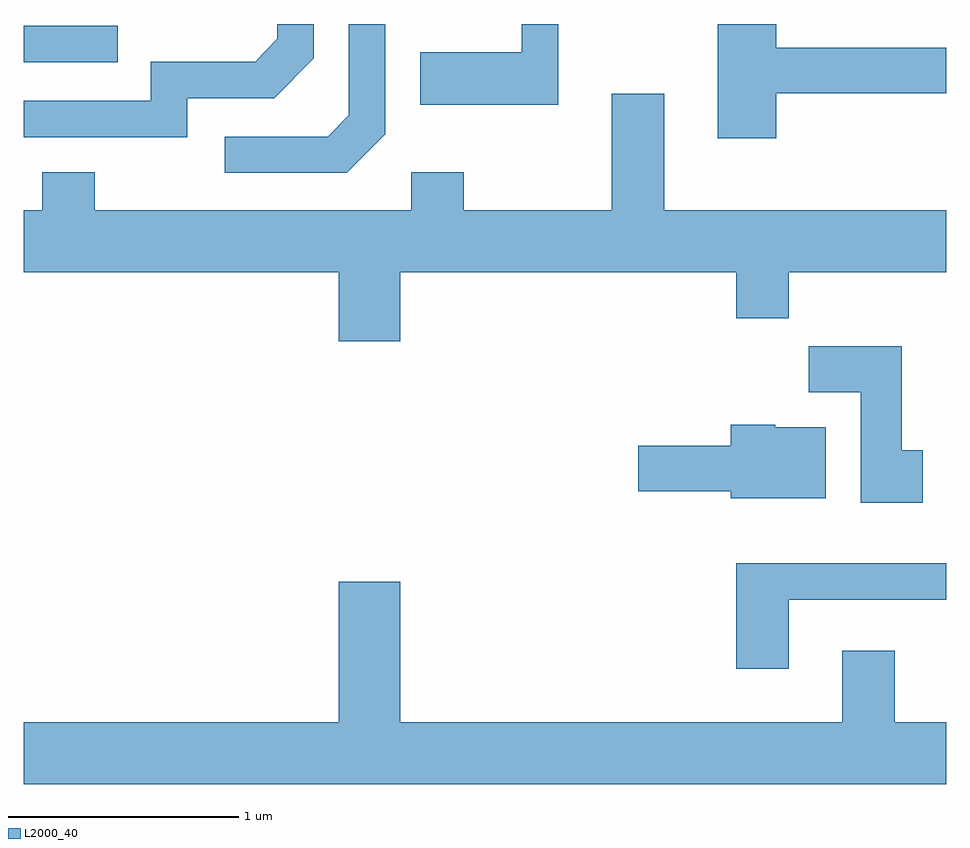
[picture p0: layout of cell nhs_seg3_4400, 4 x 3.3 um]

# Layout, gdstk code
import gdstk
lib = gdstk.Library(unit=1e-6, precision=1e-09)
def R(c, l, rs):  # rectangles x0, y0, x1, y1
    for r in rs: c.add(gdstk.rectangle(r[:2], r[2:], *l))
def P(c, l, *ps):  # polygons
    for p in ps: c.add(gdstk.Polygon(p, *l))
L2000_40 = (2000, 40)

nhs_seg3_4400 = lib.new_cell('nhs_seg3_4400')
R(nhs_seg3_4400, L2000_40, [(313.611,1215.726,314.018,1215.884)])
P(nhs_seg3_4400, L2000_40, [(316.874,1215.591),(317.611,1215.591),(317.611,1215.789),(316.874,1215.789),(316.874,1215.892),(316.621,1215.892),(316.621,1215.396),(316.874,1215.396)],
  [(315.929,1215.892),(315.771,1215.892),(315.771,1215.769),(315.331,1215.769),(315.331,1215.541),(315.929,1215.541)],
  [(315.179,1215.414),(315.179,1215.892),(315.021,1215.892),(315.021,1215.497),(314.929,1215.404),(314.483,1215.404),(314.483,1215.246),(315.012,1215.246)],
  [(314.319,1215.571),(314.697,1215.571),(314.869,1215.744),(314.869,1215.892),(314.711,1215.892),(314.711,1215.827),(314.614,1215.729),(314.161,1215.729),(314.161,1215.559),(313.611,1215.559),(313.611,1215.401),(314.319,1215.401)],
  [(315.244,1214.816),(316.701,1214.816),(316.701,1214.616),(316.929,1214.616),(316.929,1214.816),(317.611,1214.816),(317.611,1215.084),(316.389,1215.084),(316.389,1215.589),(316.161,1215.589),(316.161,1215.084),(315.519,1215.084),(315.519,1215.249),(315.291,1215.249),(315.291,1215.084),(313.919,1215.084),(313.919,1215.249),(313.691,1215.249),(313.691,1215.084),(313.611,1215.084),(313.611,1214.816),(314.976,1214.816),(314.976,1214.516),(315.244,1214.516)],
  [(317.509,1214.044),(317.419,1214.044),(317.419,1214.494),(317.016,1214.494),(317.016,1214.296),(317.241,1214.296),(317.241,1213.816),(317.509,1213.816)],
  [(317.089,1214.144),(316.87,1214.144),(316.87,1214.154),(316.676,1214.154),(316.676,1214.064),(316.276,1214.064),(316.276,1213.866),(316.676,1213.866),(316.676,1213.836),(317.089,1213.836)],
  [(316.929,1213.396),(317.611,1213.396),(317.611,1213.554),(316.701,1213.554),(316.701,1213.096),(316.929,1213.096)],
  [(317.611,1212.864),(317.389,1212.864),(317.389,1213.174),(317.161,1213.174),(317.161,1212.864),(315.244,1212.864),(315.244,1213.474),(314.976,1213.474),(314.976,1212.864),(313.611,1212.864),(313.611,1212.596),(317.611,1212.596)])

lib.write_gds('nhs_seg3_4400.gds')
